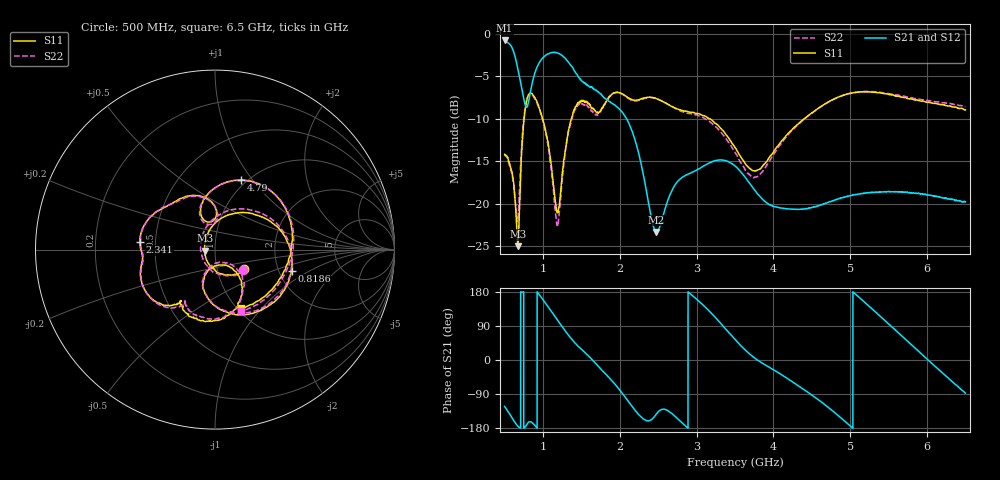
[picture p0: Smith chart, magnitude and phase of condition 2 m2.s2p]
# Hz S DB R 50
! CMT, S5065, 24347010, 24.3.4/3
! Date: 10/15/2024 12:24:11 PM
! Data: Format (Calibration Info)
! Freq	S11:dB/Ang(F2)	S21:dB/Ang(F2)	S12:dB/Ang(F2)	S22:dB/Ang(F2)
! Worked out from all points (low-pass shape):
!   10001 points, 500 MHz to 6.5 GHz, reference 50 ohm
!   highest |S21| = -0.80 dB at 500 MHz (marker M1); lowest = -23.3 dB at 2.473 GHz (marker M2)
!   |S21| within 3 dB of the highest: start of sweep to 664.5 MHz; 928.3 MHz to 1.368 GHz (439.4 MHz wide, 38.3 % of centre)
!   lowest |S11| = -25.0 dB at 672.2 MHz (marker M3), VSWR 1.12, Z = 44.7 - j0.559 ohm
!   |S11| at or under -10 dB: start of sweep to 753.8 MHz; 994.3 MHz to 1.37 GHz (375.4 MHz wide, 31.8 % of centre); 3.165 GHz to 4.402 GHz (1.238 GHz wide, 32.7 % of centre)
!   |S22| runs from -22.7 to -6.8 dB; largest |S21 - S12| = 0.0044
!   S11 on the Smith chart (normalised r, x): 500 MHz: 1.35, -0.30; 818.6 MHz: 2.35, -0.68; 2.341 GHz: 0.41, +0.04; 4.79 GHz: 0.94, +0.88; 6.5 GHz: 1.04, -0.77
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5e8  -14.19 -33.4  -0.80 -122.5  -0.80 -122.6  -14.26 -36.4
5.96e8  -16.31 -67.6  -1.64 -152.1  -1.63 -152.2  -16.52 -73.5
6.722e8  -25.00 -173.6  -4.11 -174.4  -4.10 -174.5  -21.87 175.6
7.424e8  -11.07 46.8  -7.34 179.1  -7.36 179.1  -10.69 49.8
8.186e8  -7.09 -15.4  -7.71 -163.2  -7.70 -163.3  -7.18 -14.0
8.978e8  -7.60 -56.6  -4.52 -173.5  -4.52 -173.7  -7.71 -55.7
1.0004e9  -10.16 -91.0  -2.81 158.8  -2.81 158.8  -10.35 -91.6
1.1846e9  -21.06 -82.1  -2.26 106.5  -2.26 106.4  -22.52 -80.6
1.331e9  -11.42 -56.0  -3.37 65.7  -3.38 65.6  -11.56 -53.4
1.5002e9  -7.93 -96.4  -5.51 28.4  -5.52 28.3  -8.23 -95.7
1.9484e9  -6.92 -147.1  -8.50 -66.5  -8.49 -66.7  -6.91 -146.3
2.1578e9  -7.77 -171.7  -11.42 -122.0  -11.41 -122.2  -7.85 -171.6
2.3414e9  -7.52 174.0  -18.26 -159.6  -18.27 -159.9  -7.58 174.3
2.4734e9  -7.62 160.0  -23.34 -143.1  -23.32 -143.4  -7.64 159.4
2.5004e9  -7.74 157.2  -23.12 -136.7  -23.13 -137.0  -7.73 156.7
2.7932e9  -8.99 135.2  -17.04 -162.6  -17.06 -162.8  -9.12 133.1
3.5e9  -13.38 87.7  -15.56 53.9  -15.59 53.8  -13.98 85.7
3.7898e9  -16.06 102.8  -18.81 0.3  -18.80 0.2  -16.83 104.2
4.5002e9  -9.33 90.5  -20.46 -92.6  -20.47 -92.9  -9.37 90.7
4.79e9  -7.68 69.7  -19.61 -137.5  -19.65 -137.8  -7.70 69.3
5.5004e9  -7.14 11.6  -18.57 95.2  -18.62 94.8  -7.06 9.9
6.5e9  -8.98 -66.5  -19.79 -87.5  -19.83 -87.6  -8.58 -67.0
